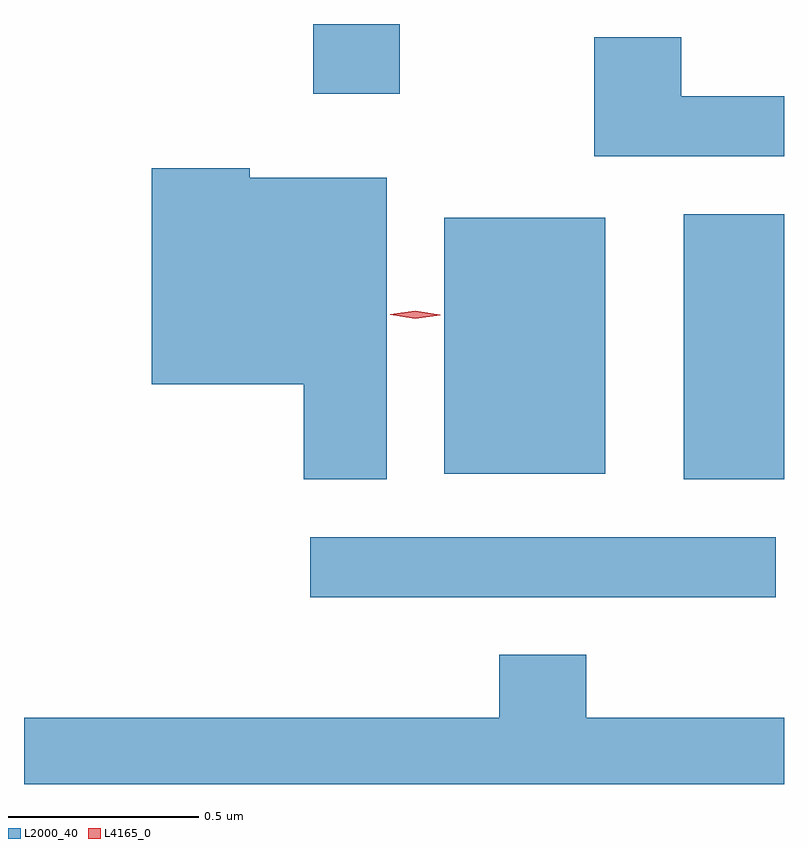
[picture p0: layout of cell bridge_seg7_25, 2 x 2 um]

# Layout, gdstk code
import gdstk
lib = gdstk.Library(unit=1e-6, precision=1e-09)
def R(c, l, rs):  # rectangles x0, y0, x1, y1
    for r in rs: c.add(gdstk.rectangle(r[:2], r[2:], *l))
def P(c, l, *ps):  # polygons
    for p in ps: c.add(gdstk.Polygon(p, *l))
L2000_40 = (2000, 40)
L4165_0 = (4165, 0)

bridge_seg7_25 = lib.new_cell('bridge_seg7_25')
R(bridge_seg7_25, L2000_40, [(1844.793,1788.161,1846.018,1788.319), (1845.776,1788.471,1846.04,1789.169), (1845.146,1788.486,1845.569,1789.159), (1844.801,1789.486,1845.029,1789.669)])
P(bridge_seg7_25, L2000_40, [(1846.04,1789.479),(1845.769,1789.479),(1845.769,1789.634),(1845.541,1789.634),(1845.541,1789.321),(1846.04,1789.321)],
  [(1844.994,1789.264),(1844.634,1789.264),(1844.634,1789.289),(1844.376,1789.289),(1844.376,1788.721),(1844.776,1788.721),(1844.776,1788.471),(1844.994,1788.471)],
  [(1846.04,1787.844),(1845.519,1787.844),(1845.519,1788.009),(1845.291,1788.009),(1845.291,1787.844),(1844.04,1787.844),(1844.04,1787.669),(1846.04,1787.669)])
P(bridge_seg7_25, L4165_0, [(1845.07,1788.894),(1845.004,1788.904),(1845.004,1788.904),(1845.004,1788.905),(1845.07,1788.914),(1845.136,1788.904),(1845.136,1788.903),(1845.136,1788.902)])

lib.write_gds('bridge_seg7_25.gds')
